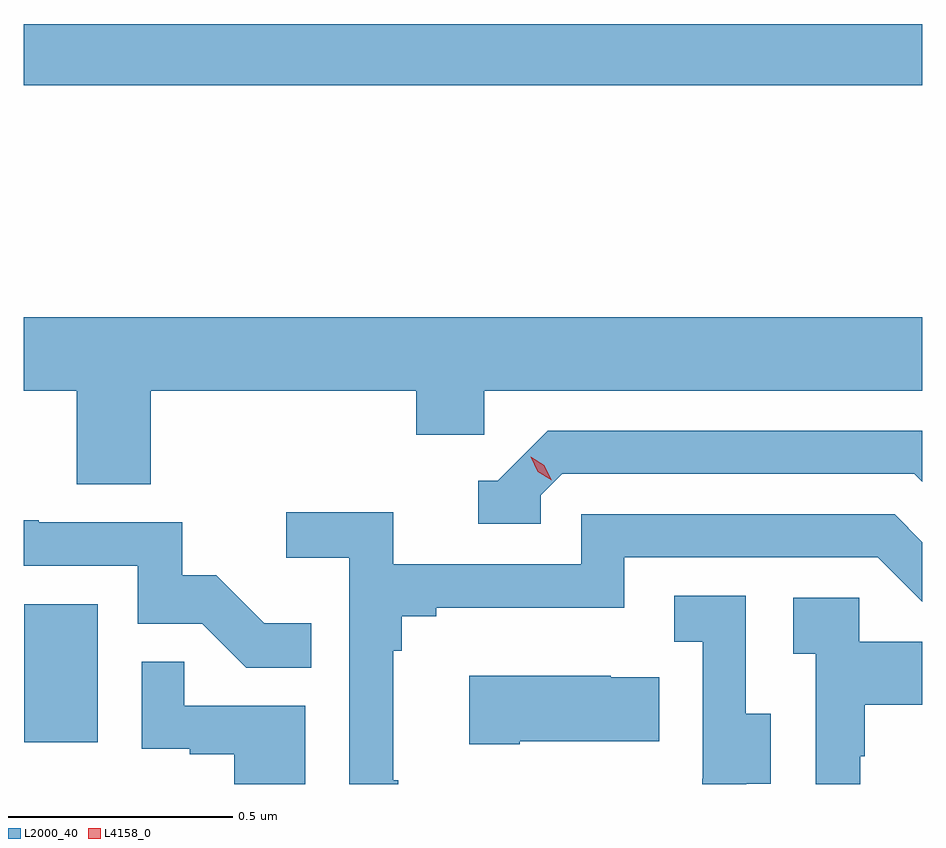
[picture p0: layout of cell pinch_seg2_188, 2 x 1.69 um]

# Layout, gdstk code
import gdstk
lib = gdstk.Library(unit=1e-6, precision=1e-09)
def R(c, l, rs):  # rectangles x0, y0, x1, y1
    for r in rs: c.add(gdstk.rectangle(r[:2], r[2:], *l))
def P(c, l, *ps):  # polygons
    for p in ps: c.add(gdstk.Polygon(p, *l))
L2000_40 = (2000, 40)
L4158_0 = (4158, 0)

pinch_seg2_188 = lib.new_cell('pinch_seg2_188')
R(pinch_seg2_188, L2000_40, [(1097.498,641.526,1097.662,641.833), (1097.497,642.988,1099.497,643.124)])
P(pinch_seg2_188, L2000_40, [(1097.78,642.308),(1098.371,642.308),(1098.371,642.21),(1098.522,642.21),(1098.522,642.308),(1099.497,642.308),(1099.497,642.472),(1097.497,642.472),(1097.497,642.308),(1097.615,642.308),(1097.615,642.1),(1097.78,642.1)],
  [(1098.648,642.075),(1098.696,642.123),(1099.479,642.123),(1099.497,642.105),(1099.497,642.219),(1098.663,642.219),(1098.552,642.108),(1098.509,642.108),(1098.509,642.012),(1098.648,642.012)],
  [(1098.331,641.441),(1098.319,641.441),(1098.319,641.729),(1098.338,641.729),(1098.338,641.806),(1098.415,641.806),(1098.415,641.825),(1098.834,641.825),(1098.834,641.937),(1099.398,641.937),(1099.497,641.838),(1099.497,641.971),(1099.435,642.033),(1098.738,642.033),(1098.738,641.922),(1098.32,641.922),(1098.32,642.038),(1098.081,642.038),(1098.081,641.936),(1098.222,641.936),(1098.222,641.433),(1098.331,641.433)],
  [(1098.137,641.791),(1098.033,641.791),(1097.926,641.898),(1097.85,641.898),(1097.85,642.015),(1097.531,642.015),(1097.531,642.02),(1097.497,642.02),(1097.497,641.919),(1097.751,641.919),(1097.751,641.79),(1097.895,641.79),(1097.993,641.692),(1098.137,641.692)],
  [(1099.105,641.434),(1099.159,641.434),(1099.159,641.589),(1099.104,641.589),(1099.104,641.852),(1098.945,641.852),(1098.945,641.749),(1099.008,641.749),(1099.008,641.445),(1099.007,641.445),(1099.007,641.433),(1099.105,641.433)],
  [(1099.359,641.495),(1099.369,641.495),(1099.369,641.609),(1099.497,641.609),(1099.497,641.749),(1099.356,641.749),(1099.356,641.847),(1099.209,641.847),(1099.209,641.723),(1099.26,641.723),(1099.26,641.433),(1099.359,641.433)],
  [(1098.124,641.607),(1097.855,641.607),(1097.855,641.705),(1097.76,641.705),(1097.76,641.511),(1097.867,641.511),(1097.867,641.499),(1097.966,641.499),(1097.966,641.433),(1098.124,641.433)],
  [(1098.601,641.528),(1098.911,641.528),(1098.911,641.671),(1098.803,641.671),(1098.803,641.674),(1098.489,641.674),(1098.489,641.521),(1098.601,641.521)])
P(pinch_seg2_188, L4158_0, [(1098.672,642.109),(1098.641,642.128),(1098.625,642.161),(1098.625,642.161),(1098.625,642.161),(1098.656,642.142),(1098.672,642.109),(1098.672,642.109)])

lib.write_gds('pinch_seg2_188.gds')
